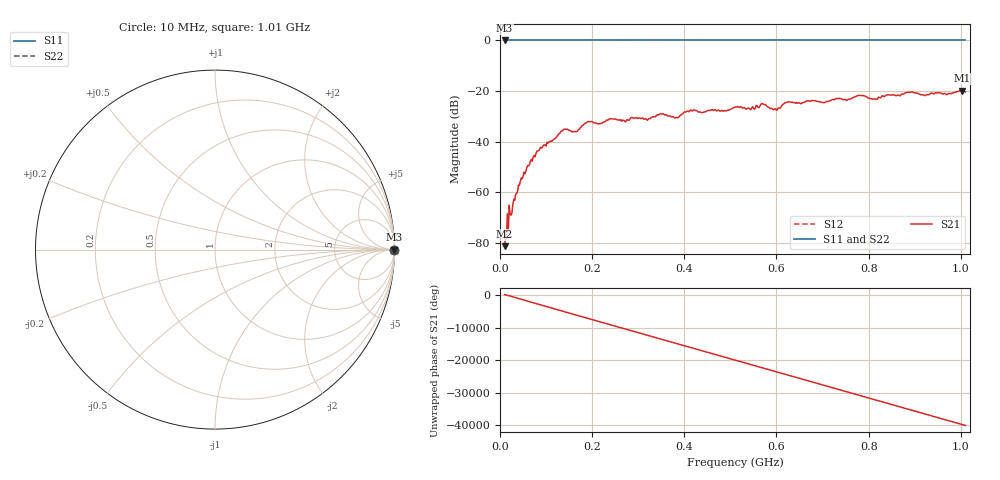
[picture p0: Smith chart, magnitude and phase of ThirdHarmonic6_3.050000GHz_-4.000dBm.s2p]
! 8/17/2025 8:51:23 AM
! C:\ANRITSUVNA\TEMP\TEMP.S2P
! CHANNEL.1
! TR.MEASUREMENT
! RAW.DATA
! RF.CORRECTION.OFF
! AVERAGING.OFF
! IF.BANDWIDTH: 5KHZ
! SWEEPTYPE:  FREQ.SWEEP(Linear)
! Reference Plane Port Info
! PORT:  PORT1  PORT2
! DISTANCE:  0  m  0  m
! TIME:  0  s  0  s
! PHASE.OFFSET:  0  deg.  0  deg.
! LOSS:  0  dB  0  dB
! REF.LOSS:  0  dB  0  dB
! REF.FREQ:  0  Hz  0  Hz
! Power Info
! POWER:  -20  dBm  -20  dBm
! EFF.POWER:  -20  dBm  -20  dBm
! SOURCE.ATTEN:  0  dB  0  dB
! TEST.ATTEN:  0  dB  0  dB
# GHZ S RI R 50.0
! FREQ.GHZ  S11RE  S11IM  S21RE  S21IM  S12RE  S12IM  S22RE  S22IM
!; PortSelection: Port_12
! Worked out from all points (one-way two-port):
!   501 points, 10 MHz to 1.01 GHz, reference 50 ohm
!   highest |S21| = -19.80 dB at 1.002 GHz (marker M1); lowest = -81.3 dB at 10 MHz (marker M2)
!   lowest |S11| = 0.0 dB at 10 MHz (marker M3)
!   |S11| at or under -10 dB: nowhere
!   |S22| runs from 0.0 to 0.0 dB; largest |S21 - S12| = 1.1
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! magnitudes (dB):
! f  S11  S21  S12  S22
! 10 MHz  0.0  -81.3  0.0  0.0
! 20 MHz  0.0  -65.2  0.0  0.0
! 42 MHz  0.0  -57.3  0.0  0.0
! 70 MHz  0.0  -47.8  0.0  0.0
! 136 MHz  0.0  -35.7  0.0  0.0
! 164 MHz  0.0  -36.0  0.0  0.0
! 178 MHz  0.0  -33.7  0.0  0.0
! 194 MHz  0.0  -32.1  0.0  0.0
! 322 MHz  0.0  -31.1  0.0  0.0
! 344 MHz  0.0  -29.5  0.0  0.0
! 382 MHz  0.0  -30.5  0.0  0.0
! 416 MHz  0.0  -27.8  0.0  0.0
! 510 MHz  0.0  -26.4  0.0  0.0
! 572 MHz  0.0  -25.2  0.0  0.0
! 598 MHz  0.0  -27.1  0.0  0.0
! 622 MHz  0.0  -24.4  0.0  0.0
! 678 MHz  0.0  -23.8  0.0  0.0
! 780 MHz  0.0  -21.7  0.0  0.0
! 814 MHz  0.0  -23.1  0.0  0.0
! 844 MHz  0.0  -21.5  0.0  0.0
! 1.002 GHz  0.0  -19.8  0.0  0.0
! 1.01 GHz  0.0  -20.3  0.0  0.0
